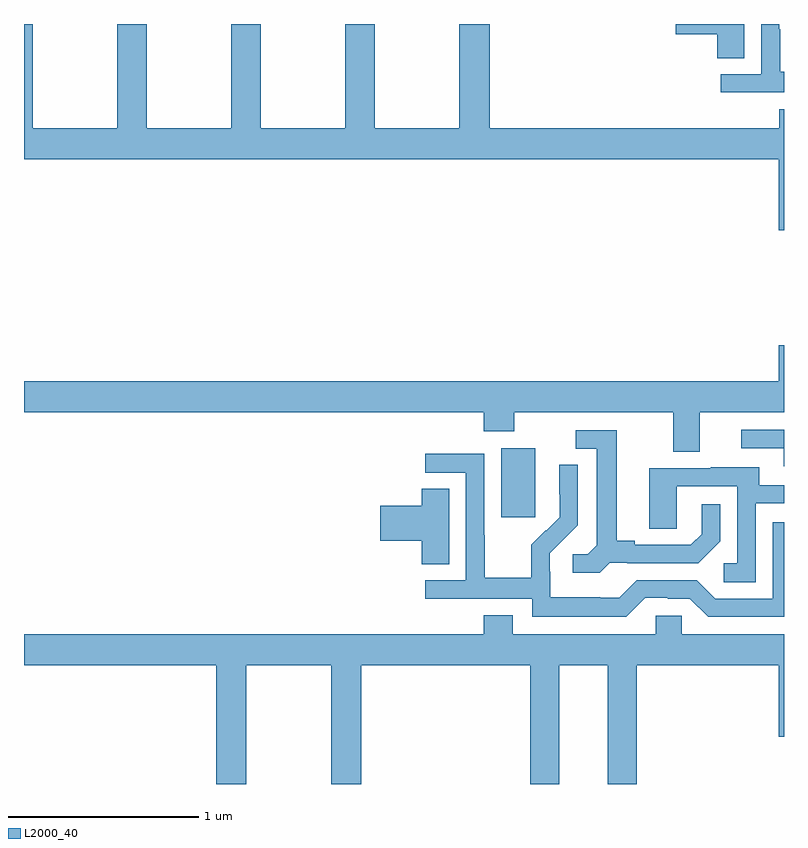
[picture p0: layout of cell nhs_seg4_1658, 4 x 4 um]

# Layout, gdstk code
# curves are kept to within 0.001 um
import gdstk
lib = gdstk.Library(unit=1e-6, precision=1e-09)
def R(c, l, rs):  # rectangles x0, y0, x1, y1
    for r in rs: c.add(gdstk.rectangle(r[:2], r[2:], *l))
def P(c, l, *ps):  # polygons
    for p in ps: c.add(gdstk.Polygon(p, *l))
L2000_40 = (2000, 40)

nhs_seg4_1658 = lib.new_cell('nhs_seg4_1658')
R(nhs_seg4_1658, L2000_40, [(199.511,760.305,199.69,760.666)])
P(nhs_seg4_1658, L2000_40, [(200.791,762.9),(200.43,762.9),(200.43,762.845),(200.648,762.845),(200.648,762.721),(200.791,762.721)],
  [(201,762.451),(200.975,762.451),(200.975,762.352),(199.451,762.352),(199.451,762.9),(199.291,762.9),(199.291,762.352),(198.846,762.352),(198.846,762.9),(198.691,762.9),(198.691,762.352),(198.246,762.352),(198.246,762.9),(198.091,762.9),(198.091,762.352),(197.646,762.352),(197.646,762.9),(197.491,762.9),(197.491,762.352),(197.046,762.352),(197.046,762.9),(197,762.9),(197,762.188),(200.972,762.188),(200.972,761.814),(201,761.814)],
  [(201,762.649),(200.979,762.649),(200.979,762.872),(200.976,762.872),(200.976,762.9),(200.88,762.9),(200.88,762.636),(200.667,762.636),(200.667,762.54),(201,762.54)],
  [(200.557,760.856),(201,760.856),(201,761.209),(200.972,761.209),(200.972,761.02),(197,761.02),(197,760.856),(199.421,760.856),(199.421,760.757),(199.581,760.757),(199.581,760.856),(200.417,760.856),(200.417,760.648),(200.557,760.648)],
  [(201,760.764),(200.775,760.764),(200.775,760.668),(200.999,760.668),(200.999,760.572),(201,760.572)],
  [(200.082,760.065),(200.176,760.065),(200.176,760.062),(200.548,760.062),(200.664,760.178),(200.664,760.372),(200.567,760.372),(200.567,760.215),(200.51,760.158),(200.215,760.158),(200.215,760.181),(200.119,760.181),(200.119,760.761),(199.905,760.761),(199.905,760.665),(200.015,760.665),(200.015,760.157),(199.968,760.11),(199.887,760.11),(199.887,760.013),(200.03,760.013)],
  [(200.271,759.879),(200.387,759.879),(200.387,759.876),(200.505,759.876),(200.601,759.78),(201,759.78),(201,760.278),(200.94,760.278),(200.94,759.876),(200.637,759.876),(200.541,759.972),(200.226,759.972),(200.133,759.879),(200.033,759.879),(200.033,759.883),(199.77,759.883),(199.77,760.017),(199.768,760.017),(199.768,760.114),(199.914,760.262),(199.914,760.58),(199.818,760.58),(199.818,760.426),(199.82,760.426),(199.82,760.304),(199.749,760.233),(199.746,760.236),(199.669,760.159),(199.669,759.985),(199.425,759.985),(199.425,760.208),(199.422,760.208),(199.422,760.638),(199.113,760.638),(199.113,760.539),(199.326,760.539),(199.326,759.972),(199.113,759.972),(199.113,759.876),(199.674,759.876),(199.674,759.779),(200.171,759.779)],
  [(200.85,760.377),(201,760.377),(201,760.473),(200.869,760.473),(200.869,760.567),(200.615,760.567),(200.615,760.563),(200.291,760.563),(200.291,760.243),(200.436,760.243),(200.436,760.467),(200.754,760.467),(200.754,760.062),(200.682,760.062),(200.682,759.961),(200.85,759.961)],
  [(199.237,760.454),(199.094,760.454),(199.094,760.364),(198.876,760.364),(198.876,760.181),(199.094,760.181),(199.094,760.057),(199.237,760.057)],
  [(198.171,759.524),(198.616,759.524),(198.616,758.9),(198.776,758.9),(198.776,759.524),(199.664,759.524),(199.664,758.9),(199.816,758.9),(199.816,759.524),(200.072,759.524),(200.072,758.9),(200.225,758.9),(200.225,759.524),(200.972,759.524),(200.972,759.15),(201,759.15),(201,759.688),(200.463,759.688),(200.463,759.786),(200.325,759.786),(200.325,759.688),(199.573,759.688),(199.573,759.787),(199.421,759.787),(199.421,759.688),(197,759.688),(197,759.524),(198.011,759.524),(198.011,758.9),(198.171,758.9)])

lib.write_gds('nhs_seg4_1658.gds')
